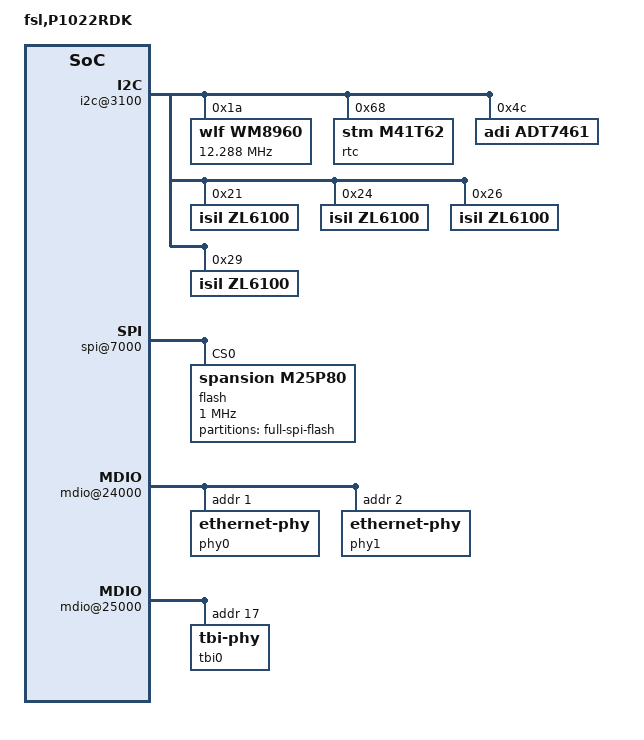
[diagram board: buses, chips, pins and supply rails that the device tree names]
/*
 * P1022 RDK 32-bit Physical Address Map Device Tree Source
 *
 * Copyright 2012 Freescale Semiconductor Inc.
 *
 * Redistribution and use in source and binary forms, with or without
 * modification, are permitted provided that the following conditions are met:
 *     * Redistributions of source code must retain the above copyright
 *       notice, this list of conditions and the following disclaimer.
 *     * Redistributions in binary form must reproduce the above copyright
 *       notice, this list of conditions and the following disclaimer in the
 *       documentation and/or other materials provided with the distribution.
 *     * Neither the name of Freescale Semiconductor nor the
 *       names of its contributors may be used to endorse or promote products
 *       derived from this software without specific prior written permission.
 *
 *
 * ALTERNATIVELY, this software may be distributed under the terms of the
 * GNU General Public License ("GPL") as published by the Free Software
 * Foundation, either version 2 of that License or (at your option) any
 * later version.
 *
 * THIS SOFTWARE IS PROVIDED BY Freescale Semiconductor "AS IS" AND ANY
 * EXPRESS OR IMPLIED WARRANTIES, INCLUDING, BUT NOT LIMITED TO, THE IMPLIED
 * WARRANTIES OF MERCHANTABILITY AND FITNESS FOR A PARTICULAR PURPOSE ARE
 * DISCLAIMED. IN NO EVENT SHALL Freescale Semiconductor BE LIABLE FOR ANY
 * DIRECT, INDIRECT, INCIDENTAL, SPECIAL, EXEMPLARY, OR CONSEQUENTIAL DAMAGES
 * (INCLUDING, BUT NOT LIMITED TO, PROCUREMENT OF SUBSTITUTE GOODS OR SERVICES;
 * LOSS OF USE, DATA, OR PROFITS; OR BUSINESS INTERRUPTION) HOWEVER CAUSED AND
 * ON ANY THEORY OF LIABILITY, WHETHER IN CONTRACT, STRICT LIABILITY, OR TORT
 * (INCLUDING NEGLIGENCE OR OTHERWISE) ARISING IN ANY WAY OUT OF THE USE OF THIS
 * SOFTWARE, EVEN IF ADVISED OF THE POSSIBILITY OF SUCH DAMAGE.
 */

/include/ "p1022si-pre.dtsi"
/ {
	model = "fsl,P1022RDK";
	compatible = "fsl,P1022RDK";

	memory {
		device_type = "memory";
	};

	board_lbc: lbc: localbus@ffe05000 {
		/* The P1022 RDK does not have any localbus devices */
		status = "disabled";
	};

	board_soc: soc: soc@ffe00000 {
		ranges = <0x0 0x0 0xffe00000 0x100000>;

		i2c@3100 {
			wm8960:codec@1a {
				compatible = "wlf,wm8960";
				reg = <0x1a>;
				/* MCLK source is a stand-alone oscillator */
				clock-frequency = <12288000>;
			};
			rtc@68 {
				compatible = "stm,m41t62";
				reg = <0x68>;
			};
			adt7461@4c{
				compatible = "adi,adt7461";
				reg = <0x4c>;
			};
			zl6100@21{
				compatible = "isil,zl6100";
				reg = <0x21>;
			};
			zl6100@24{
				compatible = "isil,zl6100";
				reg = <0x24>;
			};
			zl6100@26{
				compatible = "isil,zl6100";
				reg = <0x26>;
			};
			zl6100@29{
				compatible = "isil,zl6100";
				reg = <0x29>;
			};
		};

		spi@7000 {
			flash@0 {
				#address-cells = <1>;
				#size-cells = <1>;
				compatible = "spansion,m25p80";
				reg = <0>;
				spi-max-frequency = <1000000>;
				partition@0 {
					label = "full-spi-flash";
					reg = <0x00000000 0x00100000>;
				};
			};
		};

		ssi@15000 {
			fsl,mode = "i2s-slave";
			codec-handle = <&wm8960>;
		};

		usb@22000 {
			phy_type = "ulpi";
		};

		usb@23000 {
			phy_type = "ulpi";
		};

		mdio@24000 {
			phy0: ethernet-phy@0 {
				interrupts = <3 1 0 0>;
				reg = <0x1>;
			};
			phy1: ethernet-phy@1 {
				interrupts = <9 1 0 0>;
				reg = <0x2>;
			};
		};

		mdio@25000 {
			tbi0: tbi-phy@11 {
				reg = <0x11>;
				device_type = "tbi-phy";
			};
		};

		ethernet@b0000 {
			phy-handle = <&phy0>;
			phy-connection-type = "rgmii-id";
		};

		ethernet@b1000 {
			phy-handle = <&phy1>;
			tbi-handle = <&tbi0>;
			phy-connection-type = "sgmii";
		};
	};

	pci0: pcie@ffe09000 {
		ranges = <0x2000000 0x0 0xe0000000 0 0xa0000000 0x0 0x20000000
			  0x1000000 0x0 0x00000000 0 0xffc10000 0x0 0x10000>;
		reg = <0x0 0xffe09000 0 0x1000>;
		pcie@0 {
			ranges = <0x2000000 0x0 0xe0000000
				  0x2000000 0x0 0xe0000000
				  0x0 0x20000000

				  0x1000000 0x0 0x0
				  0x1000000 0x0 0x0
				  0x0 0x100000>;
		};
	};

	pci1: pcie@ffe0a000 {
		ranges = <0x2000000 0x0 0xe0000000 0 0xc0000000 0x0 0x20000000
			  0x1000000 0x0 0x00000000 0 0xffc20000 0x0 0x10000>;
		reg = <0 0xffe0a000 0 0x1000>;
		pcie@0 {
			ranges = <0x2000000 0x0 0xe0000000
				  0x2000000 0x0 0xe0000000
				  0x0 0x20000000

				  0x1000000 0x0 0x0
				  0x1000000 0x0 0x0
				  0x0 0x100000>;
		};
	};

	pci2: pcie@ffe0b000 {
		ranges = <0x2000000 0x0 0xe0000000 0 0x80000000 0x0 0x20000000
			  0x1000000 0x0 0x00000000 0 0xffc00000 0x0 0x10000>;
		reg = <0 0xffe0b000 0 0x1000>;
		pcie@0 {
			ranges = <0x2000000 0x0 0xe0000000
				  0x2000000 0x0 0xe0000000
				  0x0 0x20000000

				  0x1000000 0x0 0x0
				  0x1000000 0x0 0x0
				  0x0 0x100000>;
		};
	};
};

/include/ "p1022si-post.dtsi"
